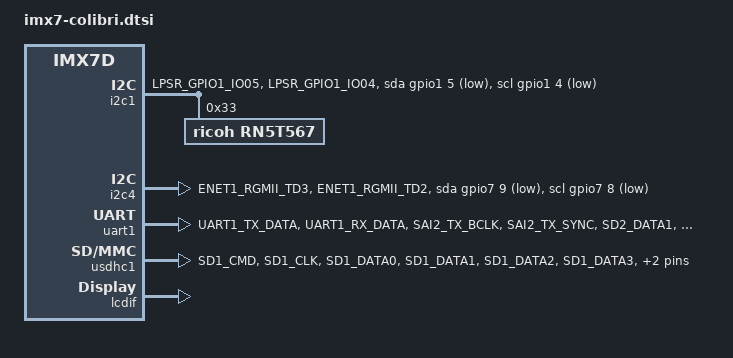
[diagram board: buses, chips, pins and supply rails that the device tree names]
// SPDX-License-Identifier: GPL-2.0+ OR X11
/*
 * Copyright 2016-2019 Toradex AG
 */

/dts-v1/;
#include <dt-bindings/gpio/gpio.h>
#include "imx7d.dtsi"

&i2c1 {
	pinctrl-names = "default", "gpio";
	pinctrl-0 = <&pinctrl_i2c1>;
	pinctrl-1 = <&pinctrl_i2c1_gpio>;
	sda-gpios = <&gpio1 5 GPIO_ACTIVE_LOW>;
	scl-gpios = <&gpio1 4 GPIO_ACTIVE_LOW>;
	status = "okay";

	rn5t567@33 {
		compatible = "ricoh,rn5t567";
		reg = <0x33>;
	};
};

&i2c4 {
	pinctrl-names = "default", "gpio";
	pinctrl-0 = <&pinctrl_i2c4>;
	pinctrl-1 = <&pinctrl_i2c4_gpio>;
	sda-gpios = <&gpio7 9 GPIO_ACTIVE_LOW>;
	scl-gpios = <&gpio7 8 GPIO_ACTIVE_LOW>;
	status = "okay";
};

&uart1 {
	pinctrl-names = "default";
	pinctrl-0 = <&pinctrl_uart1 &pinctrl_uart1_ctrl1>;
	uart-has-rtscts;
	fsl,dte-mode;
	status = "okay";
};

&usdhc1 {
	pinctrl-names = "default";
	pinctrl-0 = <&pinctrl_usdhc1 &pinctrl_cd_usdhc1>;
	no-1-8-v;
	cd-gpios = <&gpio1 0 GPIO_ACTIVE_LOW>;
	disable-wp;
	status = "okay";
};

&iomuxc {
	pinctrl_i2c4: i2c4-grp {
		fsl,pins = <
			MX7D_PAD_ENET1_RGMII_TD3__I2C4_SDA	0x4000007f
			MX7D_PAD_ENET1_RGMII_TD2__I2C4_SCL	0x4000007f
		>;
	};

	pinctrl_i2c4_gpio: i2c4-gpio-grp {
			fsl,pins = <
			MX7D_PAD_ENET1_RGMII_TD3__GPIO7_IO9	0x4000007f
			MX7D_PAD_ENET1_RGMII_TD2__GPIO7_IO8	0x4000007f
		>;
	};

	pinctrl_uart1: uart1-grp {
		fsl,pins = <
			MX7D_PAD_UART1_TX_DATA__UART1_DTE_RX	0x79
			MX7D_PAD_UART1_RX_DATA__UART1_DTE_TX	0x79
			MX7D_PAD_SAI2_TX_BCLK__UART1_DTE_CTS	0x79
			MX7D_PAD_SAI2_TX_SYNC__UART1_DTE_RTS	0x79
		>;
	};

	pinctrl_uart1_ctrl1: uart1-ctrl1-grp {
		fsl,pins = <
			MX7D_PAD_SD2_DATA1__GPIO5_IO15		0x14 /* DCD */
			MX7D_PAD_SD2_DATA0__GPIO5_IO14		0x14 /* DTR */
		>;
	};

	pinctrl_usdhc1: usdhc1-grp {
		fsl,pins = <
			MX7D_PAD_SD1_CMD__SD1_CMD	0x59
			MX7D_PAD_SD1_CLK__SD1_CLK	0x19
			MX7D_PAD_SD1_DATA0__SD1_DATA0	0x59
			MX7D_PAD_SD1_DATA1__SD1_DATA1	0x59
			MX7D_PAD_SD1_DATA2__SD1_DATA2	0x59
			MX7D_PAD_SD1_DATA3__SD1_DATA3	0x59
		>;
	};
};

&iomuxc_lpsr {
	pinctrl_i2c1: i2c1-grp {
		fsl,pins = <
			MX7D_PAD_LPSR_GPIO1_IO05__I2C1_SDA	0x4000007f
			MX7D_PAD_LPSR_GPIO1_IO04__I2C1_SCL	0x4000007f
		>;
	};

	pinctrl_i2c1_gpio: i2c1-gpio-grp {
		fsl,pins = <
			MX7D_PAD_LPSR_GPIO1_IO05__GPIO1_IO5	0x4000007f
			MX7D_PAD_LPSR_GPIO1_IO04__GPIO1_IO4	0x4000007f
		>;
	};

	pinctrl_cd_usdhc1: usdhc1-cd-grp {
		fsl,pins = <
			MX7D_PAD_LPSR_GPIO1_IO00__GPIO1_IO0	0x59 /* CD */
		>;
	};
};

&lcdif {
	u-boot,dm-pre-reloc;
	status = "okay";

	display-timings {
		native-mode = <&timing_vga>;

		/* Standard VGA timing */
		timing_vga: 640x480 {
			u-boot,dm-pre-reloc;
			clock-frequency = <25175000>;
			hactive = <640>;
			vactive = <480>;
			hback-porch = <48>;
			hfront-porch = <16>;
			vback-porch = <33>;
			vfront-porch = <10>;
			hsync-len = <96>;
			vsync-len = <2>;

			de-active = <1>;
			hsync-active = <0>;
			vsync-active = <0>;
			pixelclk-active = <0>;
		};
	};
};
